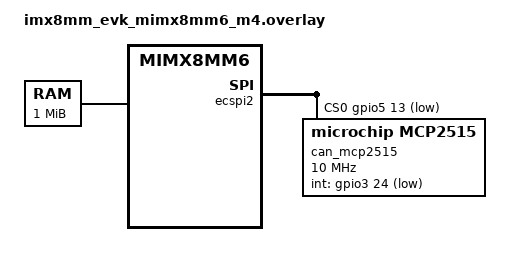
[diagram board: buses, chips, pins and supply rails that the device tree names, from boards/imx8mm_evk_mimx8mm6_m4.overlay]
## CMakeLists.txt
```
cmake_minimum_required(VERSION 3.20.0)

find_package(Zephyr REQUIRED HINTS $ENV{ZEPHYR_BASE})
project(main_app)

# 土台: 起動とコンソール (main.c)、Linux との rpmsg (rpmsg_platform.c)、キープアライブ (keepalive.c)。
# 機能: CAN の中継 (can_gw.c)。ADC はファイルを分けてここに足す
target_sources(app PRIVATE
  src/main.c
  src/rpmsg_platform.c
  src/keepalive.c
  src/can_gw.c
)
```

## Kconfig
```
# main-app の設定 (製品は既定値のまま)

menu "main-app"

config MAIN_APP_KA_TEST_PAUSE_AT_S
	int "Test only: pause the keepalive after this many messages (0 = never)"
	default 0
	help
	  Linux 側 (kmm-yocto の mcore-keepalive) の途切れの検知を試すための設定。
	  送り始めてからこの数だけ送った後、MAIN_APP_KA_TEST_PAUSE_LEN_S 秒だけ送るのを止め、
	  その後は再開する。製品では 0 (無効)。

config MAIN_APP_KA_TEST_PAUSE_LEN_S
	int "Test only: length of the keepalive pause in seconds"
	default 10
	depends on MAIN_APP_KA_TEST_PAUSE_AT_S > 0

endmenu

source "Kconfig.zephyr"
```

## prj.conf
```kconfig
# main-app — M コア (8MP: M7 / 8MM: M4) の製品ファーム。土台 (rpmsg)、キープアライブ、CAN の中継。
# ADC は、機能ごとのファイルとしてここへ移していく。
CONFIG_IPM=y
CONFIG_MAIN_STACK_SIZE=2048
CONFIG_HEAP_MEM_POOL_SIZE=2048
CONFIG_OPENAMP=y
CONFIG_OPENAMP_RSC_TABLE=y
CONFIG_OPENAMP_RSC_TABLE_NUM_RPMSG_BUFF=8
CONFIG_OPENAMP_MASTER=n

# CAN の中継 (can_gw.c)
CONFIG_CAN=y

# コンソールは「RAM + UART4 の tee」(main.c の console_tee_init):
# - RAM console: resource table に trace エントリが自動で載り、Linux から
#   cat /sys/kernel/debug/remoteproc/remoteproc0/trace0 で読める
# - UART4: Linux が死んでいる時・ブート極早期の最後の砦
CONFIG_RAM_CONSOLE=y
CONFIG_RAM_CONSOLE_BUFFER_SIZE=8192
CONFIG_UART_CONSOLE=n
CONFIG_PRINTK=y
CONFIG_LOG=y
CONFIG_LOG_MODE_MINIMAL=y
CONFIG_LOG_DEFAULT_LEVEL=3
```

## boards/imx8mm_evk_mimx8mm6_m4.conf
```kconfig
CONFIG_IPM_IMX_MAX_DATA_SIZE_4=y
# Linux 側の mboxes (fsl,mu) は MU チャネル 1 を使う取り決め (kmm-yocto の imx8mm-xpi.dts)。
# 送受とも MU レジスタ index 1 に合わせる
CONFIG_OPENAMP_RSC_TABLE_IPM_RX_ID=1
CONFIG_OPENAMP_RSC_TABLE_IPM_TX_ID=1

# 12MHz 水晶の MCP2515 HAT では 1Mbps が 6 TQ 一択で sample point 上限 66.7%。
# Zephyr の目標 75% ±5% (CONFIG_CAN_SAMPLE_POINT_MARGIN=50 既定) に入らず
# can_set_bitrate が -ERANGE になるため ±10% に緩和する (66.7% での 1M は
# CANable と E2E 実証済み。init 経路は元々 margin 検査なしで同じ 66.7% を採用
# している)。16MHz/20MHz 系のキャリアボードに移行したらこの緩和は不要 (issue #1)
CONFIG_CAN_SAMPLE_POINT_MARGIN=100

# MCP2515 (ECSPI2) と INT 線 (GPIO3)
CONFIG_SPI=y
CONFIG_GPIO=y
```

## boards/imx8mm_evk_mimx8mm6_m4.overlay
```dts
/*
 * XPI-iMX8MM M4: main-app の土台 (rpmsg) と CAN の中継 (MCP2515 @ ECSPI2 ⇄ rpmsg)。
 * 機能 (ADC など) を足すときは、その機能のノードと CS をここに足す (apps/can-gw の overlay に ADS8688 の例)。
 *
 * rpmsg (Linux 側 DT imx8mm-xpi.dts との取り決め):
 * - vdevbuffer 予約領域 = 0xB8400000 0x100000 (shared-dma-pool)
 *   → vring/バッファは全部この中にカーネルが確保する。ここを ipc_shm 窓に
 * - MU: A53 側 mboxes = <&mu 0 1 &mu 1 1 &mu 3 1> (idx1) — IPM ID は
 *   board conf 側で合わせる
 *
 * CAN (値は Linux 側 DT の MCP2515 ノードと同一):
 * - 発振 12MHz / SPI 10MHz / INT = GPIO3_IO24 (level-low) / CS0 / 1Mbps
 * - 前提: Linux 側で can0 down + mcp251x を unbind してから M4 を起動
 */
/ {
	chosen {
		zephyr,ipc_shm = &shram;
		zephyr,ipc = &mailbox0;
		zephyr,canbus = &can_mcp2515;
	};

	shram: memory@b8400000 {
		compatible = "mmio-sram";
		reg = <0xb8400000 0x100000>;
	};
};

&mailbox0 {
	status = "okay";
};

&pinctrl {
	ecspi2_default: ecspi2_default {
		group0 {
			/* SS0 はネイティブ CS でなく GPIO5_IO13 として運用:
			 * mcux ECSPI ドライバはネイティブ CS だとマルチバッファ
			 * コマンド (BIT MODIFY 等) の途中で CS がパルスし、
			 * MCP2515 のモード遷移が効かない (実測) */
			pinmux = <&iomuxc_ecspi2_sclk_ecspi_sclk_ecspi2_sclk>,
				 <&iomuxc_ecspi2_mosi_ecspi_mosi_ecspi2_mosi>,
				 <&iomuxc_ecspi2_miso_ecspi_miso_ecspi2_miso>,
				 <&iomuxc_ecspi2_ss0_gpio_io_gpio5_io13>;
			slew-rate = "fast";
			drive-strength = "x6";
		};
	};
};

&gpio3 {
	status = "okay";
};

&gpio5 {
	status = "okay";
};

&ecspi2 {
	status = "okay";
	pinctrl-0 = <&ecspi2_default>;
	pinctrl-names = "default";
	/* reg=0: MCP2515 (CS=GPIO5_IO13) */
	cs-gpios = <&gpio5 13 GPIO_ACTIVE_LOW>;

	can_mcp2515: mcp2515@0 {
		compatible = "microchip,mcp2515";
		reg = <0>;
		spi-max-frequency = <10000000>;
		osc-freq = <12000000>;
		int-gpios = <&gpio3 24 GPIO_ACTIVE_LOW>;
		bitrate = <1000000>;
		status = "okay";
	};

};
```

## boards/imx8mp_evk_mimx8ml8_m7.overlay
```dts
/*
 * DEBIX Infinity (i.MX8MP) M7: main-app の土台 (rpmsg) と CAN の中継 (FlexCAN1 ⇄ rpmsg)。
 * 機能 (ADC など) を足すときは、その機能のノードをここに足す。
 * 8MM (MCP2515/ECSPI) との差分はここと board conf に集約し、can_gw.c は
 * chosen zephyr,canbus / SoC ガードで共通化してある。
 *
 * rpmsg (Linux 側 DT との取り決め — kmm-yocto/docs/imx8mp-debix-bringup/01-m7.md):
 * - vdevbuffer 予約領域 = 0x55400000 0x100000 (shared-dma-pool) → ipc_shm 窓
 *   (vring 0x55000000/0x55008000、rsc_table 0x550FF000 は rpmsg_platform.c の SoC 定数)
 * - MU: Linux 側 mboxes = <&mu 0 1 &mu 1 1 &mu 3 1> (idx1) — 8MM と同じ取り決め、
 *   IPM ID は board conf 側で合わせる
 *
 * CAN1 ピンは DEBIX J2 Pin31/33 = SAI5_RXD1/RXD2 (Linux 側 imx8mp-debix.dts と
 * 同一 pinmux・同一パッド設定)。CAN トランシーバはボード外 (CA-IS3050G
 * モジュール等、J2 は 3.3V TXD/RXD) なので phys (can-transceiver-gpio) は無し。
 *
 * flexcan1 ノード: upstream の M7 dtsi (nxp_imx8ml_m7.dtsi) には CAN ノードが
 * 無いので、A53 dtsi (nxp_mimx8mp_a53.dtsi) の定義を M7 (NVIC) 形式に
 * 移して足す。IRQ 142/143 = CAN_FD1_IRQn/CAN_FD1_ERROR_IRQn (MIMX8ML8_cm7.h)。
 * CCGR ゲートは Zephyr の ccm ドライバが立てない (CAN の case 無し) ため
 * can_gw.c の m7_can_clocks_enable が立てる。クロックは root 既定の 24MHz osc。
 */
/ {
	chosen {
		zephyr,ipc_shm = &shram;
		zephyr,ipc = &mailbox0;
		zephyr,canbus = &flexcan1;
	};

	shram: memory@55400000 {
		compatible = "mmio-sram";
		reg = <0x55400000 0x100000>;
	};

	soc {
		flexcan1: can@308c0000 {
			compatible = "nxp,flexcan-fd", "nxp,flexcan";
			reg = <0x308c0000 0x10000>;
			interrupts = <142 3>, <143 3>;
			interrupt-names = "common", "error";
			clocks = <&ccm IMX_CCM_CAN1_CLK 0x68 14>;
			clk-source = <0>;
			pinctrl-0 = <&flexcan1_default>;
			pinctrl-names = "default";
			status = "okay";
		};
	};
};

&mailbox0 {
	status = "okay";
};

&pinctrl {
	flexcan1_default: flexcan1_default {
		group0 {
			pinmux = <&iomuxc_sai5_rxd1_can_tx_can1_tx>,
				 <&iomuxc_sai5_rxd2_can_rx_can1_rx>;
			bias-pull-up;
			slew-rate = "fast";
			drive-strength = "x2";
		};
	};
};
```

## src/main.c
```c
/*
 * main-app — M コア (8MP: Cortex-M7 / 8MM: Cortex-M4) の製品ファーム。
 *
 * 土台と機能をファイルで分ける:
 *   main.c            起動、コンソール (RAM + UART4 の tee)、各部の起動
 *   rpmsg_platform.c  Linux (imx_rproc) との rpmsg (attach 対応、MU は 1ms ポーリング)
 *   keepalive.c       M コアが動いていることを 1 秒ごとに Linux へ知らせる (チャネル "mcore-keepalive"、kmm-yocto issue #19)
 *   can_gw.c          機能: CAN コントローラ ⇄ rpmsg "rpmsg-can" の中継 (apps/can-gw から移した)
 * 機能 (ADC など) は、ファイルを分けて足していく。
 * ボード差分は boards/ の overlay と conf、SoC ガードに集める。
 *
 * 起動経路は 2 通りどちらでも動く: kmm-yocto の SPL/BL31 が先に起動して Linux が attach
 * する (製品)、Linux の remoteproc が ELF を読んで起動する (scripts/try.sh)。
 */
#include <zephyr/kernel.h>
#include <zephyr/device.h>
#include <zephyr/drivers/uart.h>
#include <zephyr/sys/printk-hooks.h>
#include <zephyr/sys/libc-hooks.h>
#include <string.h>

#include "rpmsg_platform.h"
#include "keepalive.h"
#include "can_gw.h"

#if defined(CONFIG_SOC_MIMX8MM6)
/* [8MM] コンソールの UART4 のクロックを M4 自身で立てる。i.MX8MM の CCGR は 4bit/domain の
 * ドメイン別要求フィールドで、domain0 (Linux) からは domain1 (M4) の分を書けない。
 * SET レジスタに全ドメイン分 (0x3333) を書く (M4 の write は自ドメインの分にだけ効く)。
 * UART4 のパッドはリセット既定が ALT0=UART4 なので mux は不要、RX の入力 daisy だけ明示する。
 * 機能のクロック (CAN の ECSPI2 など) は、その機能のファイルが立てる (can_gw.c) */
#define CCM_CCGR_UART4_SET   0x303844C4u	/* CCGR76 (0x44C0) の SET — kmm-yocto pitfalls #25 実測 */

static int m4_clocks_enable(void)
{
	*(volatile uint32_t *)CCM_CCGR_UART4_SET = 0x3333;
	*(volatile uint32_t *)0x3033050Cu = 0x2;	/* UART4_RXD input daisy */
	return 0;
}
SYS_INIT(m4_clocks_enable, PRE_KERNEL_1, 0);
#endif /* CONFIG_SOC_MIMX8MM6 */

/* --- コンソール tee: printk を RAM console バッファと UART4 の両方へ。
 * RAM 側は CONFIG_RAM_CONSOLE により resource table の trace エントリとして公開され、
 * Linux から debugfs (remoteproc0/trace0) で読める。UART4 は Linux 不在時のための
 * 物理コンソール。RAM console 標準フック (PRE_KERNEL_1) を APPLICATION でこの tee に
 * 差し替える — それまでの分は RAM のみに入る */
extern char ram_console_buf[];
static int tee_pos;
static const struct device *tee_uart;

static int console_tee_out(int c)
{
	ram_console_buf[tee_pos] = (char)c;
	/* ram_console.c と同じ流儀: 末尾 1 バイトは常に NUL */
	tee_pos = (tee_pos + 1) % (CONFIG_RAM_CONSOLE_BUFFER_SIZE - 1);
	if (tee_uart != NULL) {
		uart_poll_out(tee_uart, (unsigned char)c);
	}
	return c;
}

static int console_tee_init(void)
{
	tee_uart = DEVICE_DT_GET(DT_CHOSEN(zephyr_console));
	if (!device_is_ready(tee_uart)) {
		tee_uart = NULL;
	}
	tee_pos = (int)strnlen(ram_console_buf, CONFIG_RAM_CONSOLE_BUFFER_SIZE - 1);
	__printk_hook_install(console_tee_out);
	__stdout_hook_install(console_tee_out);
	return 0;
}
SYS_INIT(console_tee_init, APPLICATION, 0);

int main(void)
{
	printk("main-app: start (%s)\n", CONFIG_BOARD_TARGET);

	rpmsg_platform_start();
	keepalive_start();
	can_gw_start();

	return 0;
}
```

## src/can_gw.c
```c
/*
 * can_gw — CAN コントローラ ⇄ rpmsg "rpmsg-can" の双方向 CAN ゲートウェイ (main-app の機能)。
 * apps/can-gw の CAN の部分を移したもの (ADC は別の機能として移す予定で、ここには入れない)。
 * CAN 側は chosen zephyr,canbus (8MM/M4: MCP2515 @ ECSPI2、8MP/M7: FlexCAN1)。
 *
 * Linux 側は kmm-yocto の rpmsg-can モジュールが NS 告知で bind して
 * CAN netdev rpmsgcan0 を登録する。以後 Linux アプリは SocketCAN 無修正。
 *
 *   CAN rx (ISRコールバック) → msgq → tx スレッド → rpmsg → rpmsgcan0
 *   rpmsgcan0 送信 → rpmsg → ept コールバック → can_send → CAN バス
 *
 * ワイヤ形式 (rpmsg-can.c と共通):
 *   - データフレーム 16B: { uint32 id; uint8 dlc; uint8 pad[3]; uint8 data[8] } (LE)
 *     id は Linux canid_t の慣例 (bit31=EFF, bit30=RTR)。
 *   - 制御メッセージ 8B: { uint8 magic=0xC7; uint8 cmd; uint8 flags; uint8 rsvd;
 *     uint32 arg }。長さで区別。Linux 側 candev の netlink 設定を反映する:
 *     bitrate/mode を受けて can_set_bitrate/can_set_mode、START/STOP で
 *     can_start/can_stop。M コア→Linux は状態変化 (bus-off 等) を EVT_STATE で返す。
 *   - それ以外の長さ (Linux probe の "hi" 等) は返信先アドレス学習にだけ使う。
 *
 * CAN の起動は Linux の `ip link up` (= START) 契機。M コア起動時は can_start せず、
 * bitrate/mode を停止中に受けてから start する (SocketCAN candev の流儀)。
 *
 * [8MM] 前提 (RDC): M4 が使うペリフェラル (ECSPI2/GPIO3/GPIO5) は、M4 起動前に
 * Linux (domain0) か BL31 から RDC PDAP を M4 専用 (0x0C) に設定しておくこと。
 * 共有 (0xFF) のままだと、MU/IPM を含むビルドではペリフェラル READ が
 * バスエラー → SoC ハードリセットになる (実測)。
 */
#include <zephyr/kernel.h>
#include <zephyr/device.h>
#include <zephyr/drivers/can.h>
#include <zephyr/drivers/gpio.h>
#include <zephyr/sys/atomic.h>
#include <string.h>

#include <openamp/open_amp.h>

#include <zephyr/logging/log.h>
LOG_MODULE_REGISTER(can_gw);

#include "can_gw.h"
#include "rpmsg_platform.h"

#if defined(CONFIG_SOC_MIMX8MM6)
/* ---- [8MM] MCP2515 (ECSPI2) まわりのクロックを M4 自身で enable ----
 * コンソールの UART4 のクロックは main.c が立てる。
 * Linux 側 DT は ecspi2 を disabled にした (M4 譲渡)。i.MX8MM の CCGR は
 * 4bit/domain のドメイン別要求フィールドで、domain0 (Linux) の devmem では
 * domain1 (M4) のフィールドに書けない (実測: 0x33 を書くと 0x03 になる)。
 * domain1 の要求が立っていないと M4 のレジスタアクセスで bus stall →
 * SoC ハードリセットになる (実測)。SDK の CLOCK_EnableClock と同じく
 * SET レジスタに全ドメイン分 (0x3333) を書く。M4 (domain1) からの write は
 * 自ドメインのフィールドに有効。ECSPI ドライバ init (banner 前) より先に
 * 走るよう PRE_KERNEL_1 priority 0 で行う。
 * TARGET_ROOT は Linux 側 (mcore_booted=1 + clk_ignore_unused) が enable を
 * 維持する取り決め (kmm-yocto imx8mm-xpi.dts のコメント参照)。 */
#define CCM_CCGR_ECSPI2_SET  0x30384084u	/* CCGR (0x4080) の SET */
#define CCM_CCGR_GPIO3_SET   0x303840D4u	/* CCGR (0x40D0) の SET */
#define CCM_CCGR_GPIO5_SET   0x303840F4u	/* CCGR (0x40F0) の SET */

static int m4_can_clocks_enable(void)
{
	/* clk-test (kmm-yocto m4/clk-test) での実測: M4 write は domain1
	 * フィールドのみに効き (0x3333 → 読み値 0x30)、これで ECSPI2 read が
	 * 2700 万回生還。can-gw が使う GPIO3 (INT)/GPIO5 (CS)、コンソールの
	 * UART4 も同様に立てる */
	*(volatile uint32_t *)CCM_CCGR_ECSPI2_SET = 0x3333;
	*(volatile uint32_t *)CCM_CCGR_GPIO3_SET = 0x3333;
	*(volatile uint32_t *)CCM_CCGR_GPIO5_SET = 0x3333;
	/* 前任 M4 が SPI 転送中に stop されていると ECSPI2 が動作状態のまま残り、
	 * SPI ドライバ init がハングする (state=running なのに無音、adc-test で実測)。
	 * M4 リセットはペリフェラルを初期化しないので毎起動 CONREG=0 で白紙に */
	*(volatile uint32_t *)0x30830008u = 0;
	return 0;
}
SYS_INIT(m4_can_clocks_enable, PRE_KERNEL_1, 0);

#elif defined(CONFIG_SOC_MIMX8ML8)
/* ---- FlexCAN1 クロックを M7 自身で enable (8MP) ----
 * Zephyr の ccm ドライバ (mcux_ccm_on) は CAN の CCGR ゲートを立てない
 * (case が無く素通り)。Linux 側 DT では flexcan1 を M7 譲渡で disabled に
 * する予定のため誰も立てず、FlexCAN ドライバ init のレジスタアクセスで
 * 止まる。8MM の CCGR 対応と同じく M7 自身で立てる。
 *
 * [falcon 対応 2026-09-10] CCGR ゲートだけでは不足。CAN1 クロック *root*
 * (CCM TARGET_ROOT @ 0x3038a200) の enable まで自前で立てる必要がある。
 * remoteproc 経路では U-Boot proper が root を立てていたが、falcon
 * (SPL→BL31→カーネル直行) では U-Boot proper を飛ばすため root が
 * 未 enable のまま (実機実測 0x00000000)。この状態で FlexCAN ドライバが
 * init すると get_rate は 24MHz を返すのに実クロックは 0Hz で、bit timing
 * が狂い CAN が一切通らない (実機: can0 RX=0)。root を enable + mux=0
 * (24MHz osc) + div=0 = 0x10000000 で立てる (ccm get_rate=24MHz と一致)。*/
#include <fsl_clock.h>

#define CCM_CAN1_CLK_ROOT	0x3038a200u	/* CCM TARGET_ROOT CAN1 (imx8mp) */
#define CCM_ROOT_EN_OSC24M	0x10000000u	/* bit28 enable, mux[26:24]=0 (osc_24m), div=0 */

static int m7_can_clocks_enable(void)
{
	*(volatile uint32_t *)CCM_CAN1_CLK_ROOT = CCM_ROOT_EN_OSC24M;
	CLOCK_EnableClock(kCLOCK_Can1);
	return 0;
}
SYS_INIT(m7_can_clocks_enable, PRE_KERNEL_1, 0);
#endif /* SoC */

/* ---- ワイヤ形式と Linux canid_t フラグ ---- */

struct rpmsg_can_wire {
	uint32_t id;
	uint8_t dlc;
	uint8_t pad[3];
	uint8_t data[8];
} __packed;

#define LINUX_CAN_EFF_FLAG 0x80000000U
#define LINUX_CAN_RTR_FLAG 0x40000000U
#define LINUX_CAN_EFF_MASK 0x1FFFFFFFU
#define LINUX_CAN_SFF_MASK 0x000007FFU

/* ---- 制御メッセージ (rpmsg-can.c と共通、8B。16B フレームと長さで区別) ----
 * Linux 側 candev の netlink 設定 (bitrate/mode) と up/down をここへ流す。
 * enum can_state は Zephyr と Linux で値が一致 (ACTIVE=0/WARN=1/PASSIVE=2/
 * BUS_OFF=3/STOPPED=4/SLEEPING=5) なので EVT_STATE は arg をそのまま渡す。 */
#define RPMSG_CAN_CTRL_MAGIC 0xC7
enum {
	RPMSG_CAN_CMD_SET_BITRATE = 1,	/* Linux→M4: arg = bitrate [bps] */
	RPMSG_CAN_CMD_SET_MODE    = 2,	/* Linux→M4: flags = mode ビット */
	RPMSG_CAN_CMD_START       = 3,	/* Linux→M4: CAN 起動 (ip link up) */
	RPMSG_CAN_CMD_STOP        = 4,	/* Linux→M4: CAN 停止 (ip link down) */
	RPMSG_CAN_EVT_STATE       = 5,	/* M4→Linux: arg = enum can_state */
};

struct rpmsg_can_ctrl {
	uint8_t magic;
	uint8_t cmd;
	uint8_t flags;
	uint8_t rsvd;
	uint32_t arg;
} __packed;

#define RPMSG_CAN_MODE_LISTENONLY (1u << 0)
#define RPMSG_CAN_MODE_LOOPBACK   (1u << 1)

/* ---- CAN ---- */

/* CAN コントローラは chosen で選ぶ (8MM: &can_mcp2515 / 8MP: &flexcan1) */
static const struct device *const can_dev =
	DEVICE_DT_GET(DT_CHOSEN(zephyr_canbus));

K_MSGQ_DEFINE(can_rx_q, sizeof(struct can_frame), 64, 4);

/* Linux の START/STOP で駆動する (旧: main() で無条件 can_start)。
 * SET_BITRATE/SET_MODE は停止中でないと適用できないので、必要なら stop する */
static bool can_started;

/* 状態変化 → EVT_STATE の遅延送出。CAN の状態変化コールバックは ISR/
 * ドライバ文脈で走り得るので、そこでは値を積むだけにし、main ループが送る */
static atomic_t pending_state = ATOMIC_INIT(-1);
static K_SEM_DEFINE(state_sem, 0, 1);

#if defined(CONFIG_SOC_MIMX8MM6)
/* --- INT 可観測性: MCP2515 INT (GPIO3_IO24) のエッジをドライバとは独立の
 * callback で数え、IMR/PSR も直読みして stats に出す。gpio3 を Linux が
 * 掴んで IMR を消す時限バグ (kmm-yocto pitfalls #31) の切り分けで導入。
 * imr24 が 0 になったらこの類の再発 — stats 1 行で常時見張る */
static volatile uint32_t diag_edges;
static struct gpio_callback diag_int_cb;
static void diag_int_edge(const struct device *dev, struct gpio_callback *cb,
			  uint32_t pins)
{
	diag_edges++;
}
#define GPIO3_PSR (*(volatile uint32_t *)0x30220008u)
#define GPIO3_IMR (*(volatile uint32_t *)0x30220014u)
#endif /* CONFIG_SOC_MIMX8MM6 */

static void can_state_change_cb(const struct device *dev, enum can_state state,
				struct can_bus_err_cnt err_cnt, void *user_data)
{
	ARG_UNUSED(dev);
	ARG_UNUSED(err_cnt);
	ARG_UNUSED(user_data);

	atomic_set(&pending_state, (atomic_val_t)state);
	k_sem_give(&state_sem);
}

/* 統計 (5 秒ごとにコンソールへ) */
static atomic_t stat_can_rx;		/* CAN → rpmsg 転送数 */
static atomic_t stat_can_rx_drop;	/* msgq 満杯ドロップ */
static atomic_t stat_rpmsg_drop;	/* rpmsg TX バッファ枯渇ドロップ */
static atomic_t stat_can_tx;		/* rpmsg → CAN 送信数 */
static atomic_t stat_can_tx_drop;	/* can_send 失敗 */

static void can_rx_cb(const struct device *dev, struct can_frame *frame,
		      void *user_data)
{
	ARG_UNUSED(dev);
	ARG_UNUSED(user_data);

	if (k_msgq_put(&can_rx_q, frame, K_NO_WAIT) != 0) {
		atomic_inc(&stat_can_rx_drop);
	}
}

/* ---- rpmsg ---- */

K_THREAD_STACK_DEFINE(thread_tx_stack, 1024);
K_THREAD_STACK_DEFINE(thread_ctl_stack, 1024);
static struct k_thread thread_tx_data;
static struct k_thread thread_ctl_data;

static struct rpmsg_endpoint can_ept;
/* Linux 側 ept アドレス。probe 時の "hi" (または任意の受信) で学習する */
static atomic_t peer_addr = ATOMIC_INIT(-1);

/* Linux (candev) からの制御メッセージを CAN コントローラへ反映する。
 * mng スレッド文脈から呼ばれる (CAN API 呼び出しは可)。設定は ip link up 時の
 * 数発だけなので、ここで can_stop/start しても vring 処理への影響は軽微 */
static void rpmsg_can_handle_ctrl(const struct rpmsg_can_ctrl *c)
{
	int ret;

	switch (c->cmd) {
	case RPMSG_CAN_CMD_SET_BITRATE:
		if (can_started) {
			can_stop(can_dev);
			can_started = false;
		}
		ret = can_set_bitrate(can_dev, c->arg);
		printk("can-gw: set_bitrate %u rc=%d\n", c->arg, ret);
		break;
	case RPMSG_CAN_CMD_SET_MODE: {
		can_mode_t mode = CAN_MODE_NORMAL;

		if (c->flags & RPMSG_CAN_MODE_LISTENONLY) {
			mode |= CAN_MODE_LISTENONLY;
		}
		if (c->flags & RPMSG_CAN_MODE_LOOPBACK) {
			mode |= CAN_MODE_LOOPBACK;
		}
		if (can_started) {
			can_stop(can_dev);
			can_started = false;
		}
		ret = can_set_mode(can_dev, mode);
		printk("can-gw: set_mode 0x%x rc=%d\n", (unsigned int)mode, ret);
		break;
	}
	case RPMSG_CAN_CMD_START:
		if (!can_started) {
			ret = can_start(can_dev);
			can_started = (ret == 0);
			printk("can-gw: start rc=%d\n", ret);
		}
		break;
	case RPMSG_CAN_CMD_STOP:
		if (can_started) {
			can_stop(can_dev);
			can_started = false;
			printk("can-gw: stop\n");
		}
		break;
	default:
		break;
	}
}

static int rpmsg_recv_can_callback(struct rpmsg_endpoint *ept, void *data,
				   size_t len, uint32_t src, void *priv)
{
	struct rpmsg_can_wire w;
	struct can_frame frame = {0};
	int ret;

	atomic_set(&peer_addr, (atomic_val_t)src);

	if (len == sizeof(struct rpmsg_can_ctrl)) {	/* 制御メッセージ (8B) */
		const struct rpmsg_can_ctrl *c = data;

		if (c->magic == RPMSG_CAN_CTRL_MAGIC) {
			rpmsg_can_handle_ctrl(c);
		}
		return RPMSG_SUCCESS;
	}
	if (len != sizeof(w)) {	/* "hi" ハンドシェイク等 */
		return RPMSG_SUCCESS;
	}
	memcpy(&w, data, sizeof(w));

	if (w.id & LINUX_CAN_EFF_FLAG) {
		frame.id = w.id & LINUX_CAN_EFF_MASK;
		frame.flags |= CAN_FRAME_IDE;
	} else {
		frame.id = w.id & LINUX_CAN_SFF_MASK;
	}
	if (w.id & LINUX_CAN_RTR_FLAG) {
		frame.flags |= CAN_FRAME_RTR;
	}
	frame.dlc = MIN(w.dlc, CAN_MAX_DLC);
	memcpy(frame.data, w.data, can_dlc_to_bytes(frame.dlc));

	/* mng スレッド文脈。MCP2515 の TX メールボックス待ちはしない —
	 * 満杯なら vring 処理を止めないためドロップ */
	ret = can_send(can_dev, &frame, K_NO_WAIT, NULL, NULL);
	if (ret == 0) {
		atomic_inc(&stat_can_tx);
	} else {
		atomic_inc(&stat_can_tx_drop);
	}
	return RPMSG_SUCCESS;
}

/* CAN → Linux。rpmsg が使えるようになってからエンドポイントを作る */
static void can_gw_tx_task(void *arg1, void *arg2, void *arg3)
{
	ARG_UNUSED(arg1);
	ARG_UNUSED(arg2);
	ARG_UNUSED(arg3);

	struct rpmsg_device *rdev = rpmsg_platform_wait();
	struct can_frame frame;
	struct rpmsg_can_wire w;
	int ret;

	if (!rdev) {
		LOG_ERR("can-gw: no rpmsg device");
		return;
	}

	/* NS 告知 → Linux 側で rpmsg-can が probe → rpmsgcan0 登録 */
	ret = rpmsg_create_ept(&can_ept, rdev, "rpmsg-can",
			       RPMSG_ADDR_ANY, RPMSG_ADDR_ANY,
			       rpmsg_recv_can_callback, NULL);
	if (ret) {
		LOG_ERR("can-gw: could not create rpmsg-can endpoint: %d", ret);
		return;
	}
	printk("can-gw: rpmsg-can endpoint created, waiting for Linux peer\n");

	while (1) {
		k_msgq_get(&can_rx_q, &frame, K_FOREVER);

		uint32_t peer = (uint32_t)atomic_get(&peer_addr);

		if (peer == (uint32_t)-1) {
			continue;	/* Linux 側まだ — 捨てる */
		}

		memset(&w, 0, sizeof(w));
		w.id = frame.id;
		if (frame.flags & CAN_FRAME_IDE) {
			w.id = (frame.id & LINUX_CAN_EFF_MASK) |
			       LINUX_CAN_EFF_FLAG;
		} else {
			w.id = frame.id & LINUX_CAN_SFF_MASK;
		}
		if (frame.flags & CAN_FRAME_RTR) {
			w.id |= LINUX_CAN_RTR_FLAG;
		}
		w.dlc = MIN(frame.dlc, CAN_MAX_DLC);
		memcpy(w.data, frame.data, can_dlc_to_bytes(w.dlc));

		/* 非ブロック — TX バッファ枯渇 (Linux 停滞) はドロップ */
		ret = rpmsg_trysendto(&can_ept, &w, sizeof(w), peer);
		if (ret == 0 || ret == sizeof(w)) {
			atomic_inc(&stat_can_rx);
		} else {
			atomic_inc(&stat_rpmsg_drop);
		}
	}
}

/* 状態変化を Linux へ (EVT_STATE)、無ければ 5 秒ごとに統計をコンソールへ */
static void can_gw_ctl_task(void *arg1, void *arg2, void *arg3)
{
	ARG_UNUSED(arg1);
	ARG_UNUSED(arg2);
	ARG_UNUSED(arg3);

	while (1) {
		enum can_state state;
		struct can_bus_err_cnt errs;

		/* 状態変化 (state_sem) で即起きて EVT_STATE を Linux へ。無ければ
		 * 5s ごとに J64 へ統計を出す */
		if (k_sem_take(&state_sem, K_SECONDS(5)) == 0) {
			atomic_val_t st = atomic_get(&pending_state);
			uint32_t peer = (uint32_t)atomic_get(&peer_addr);

			if (st >= 0 && peer != (uint32_t)-1) {
				struct rpmsg_can_ctrl e = {
					.magic = RPMSG_CAN_CTRL_MAGIC,
					.cmd = RPMSG_CAN_EVT_STATE,
					.arg = (uint32_t)st,
				};

				rpmsg_trysendto(&can_ept, &e, sizeof(e), peer);
				printk("can-gw: EVT_STATE %ld -> Linux\n", (long)st);
			}
			continue;	/* 統計は次の timeout 周で */
		}

		can_get_state(can_dev, &state, &errs);
		printk("--- can->rp %ld (qdrop %ld, rpdrop %ld) | rp->can %ld (drop %ld) | peer 0x%x | started=%d state=%d tx_err=%d rx_err=%d ---\n",
		       atomic_get(&stat_can_rx),
		       atomic_get(&stat_can_rx_drop),
		       atomic_get(&stat_rpmsg_drop),
		       atomic_get(&stat_can_tx),
		       atomic_get(&stat_can_tx_drop),
		       (uint32_t)atomic_get(&peer_addr),
		       can_started,
		       state, errs.tx_err_cnt, errs.rx_err_cnt);
#if defined(CONFIG_SOC_MIMX8MM6)
		printk("    int-diag: edges=%u lvl=%d imr24=%d\n",
		       diag_edges,
		       (int)((GPIO3_PSR >> 24) & 1),
		       (int)((GPIO3_IMR >> 24) & 1));
#endif
	}
}

void can_gw_start(void)
{
	const struct can_filter filter_all = {
		.flags = 0,
		.id = 0,
		.mask = 0,	/* mask 0 = 全 ID */
	};
	int ret;

	printk("can-gw: %s <-> rpmsg-can\n", can_dev->name);

	if (!device_is_ready(can_dev)) {
		printk("can-gw: CAN device NOT ready\n");
		return;
	}
	/* can_start は Linux (candev) の START = `ip link up` 契機で行う
	 * (SET_BITRATE/SET_MODE を停止中に受けてから起動するため)。ここでは
	 * 全 ID フィルタ登録と状態変化コールバック登録だけ */
	ret = can_add_rx_filter(can_dev, can_rx_cb, NULL, &filter_all);
	printk("can-gw: add_rx_filter rc=%d\n", ret);
	can_set_state_change_callback(can_dev, can_state_change_cb, NULL);

#if defined(CONFIG_SOC_MIMX8MM6)
	{
		const struct device *g3 = DEVICE_DT_GET(DT_NODELABEL(gpio3));

		gpio_init_callback(&diag_int_cb, diag_int_edge, BIT(24));
		gpio_add_callback(g3, &diag_int_cb);
	}
#endif

	k_thread_create(&thread_tx_data, thread_tx_stack,
			K_THREAD_STACK_SIZEOF(thread_tx_stack),
			can_gw_tx_task, NULL, NULL, NULL,
			K_PRIO_COOP(7), 0, K_NO_WAIT);
	k_thread_create(&thread_ctl_data, thread_ctl_stack,
			K_THREAD_STACK_SIZEOF(thread_ctl_stack),
			can_gw_ctl_task, NULL, NULL, NULL,
			K_PRIO_PREEMPT(1), 0, K_NO_WAIT);
}
```

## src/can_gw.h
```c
/*
 * can_gw — CAN コントローラ ⇄ rpmsg "rpmsg-can" の双方向 CAN ゲートウェイ (main-app の機能)。
 * 仕様は can_gw.c の冒頭。
 */
#ifndef CAN_GW_H_
#define CAN_GW_H_

/* CAN コントローラの準備と、中継のスレッドを起こす (rpmsg が使えるようになってから始める) */
void can_gw_start(void);

#endif /* CAN_GW_H_ */
```

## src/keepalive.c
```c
/*
 * keepalive — M コアが動いていることを Linux に知らせる (kmm-yocto issue #19)。
 *
 * - rpmsg のチャネルを "mcore-keepalive" の名前で告知する。Linux 側は kmm-yocto の
 *   mcore-keepalive カーネルモジュールが bind し、M コアが動いているかを /sys に出す。
 *   CAN などの機能とは別のチャネルで、機能の状態は含めない (見るのは M コアが起動して
 *   動いているかだけ)。
 * - M コアは Linux 側の宛先を知らないので、Linux 側が最初に送ってくる 1 通 (モジュールが
 *   bind 時に送る "hi") の送り元を宛先として覚え、以後 1 秒ごとに送る。宛先は受け取るたびに
 *   更新する (モジュールを入れ直しても追従する)。
 * - メッセージ (リトルエンディアン、16 バイト):
 *     u32 magic = 0x414B434D ("MCKA")  u16 proto = 1  u16 len = 16
 *     u32 uptime_ms (M コアが起動してからの時間)  u32 seq (送るたびに 1 増える)
 * - 送れないとき (Linux 側がバッファを返していない) は待たずに次の周期へ回す。seq は
 *   送れたときだけ増やすので、Linux 側から見た抜けは seq の飛びで分かる。
 * - 試験用 (Kconfig の MAIN_APP_KA_TEST_PAUSE_AT_S): 送り始めてから決まった秒数で送るのを止め、
 *   決まった秒数後に再開する。Linux 側の途切れの検知を試すためで、製品では 0 (無効)。
 */
#include <zephyr/kernel.h>
#include <zephyr/sys/atomic.h>
#include <string.h>

#include <openamp/open_amp.h>

#include <zephyr/logging/log.h>
LOG_MODULE_REGISTER(keepalive);

#include "keepalive.h"
#include "rpmsg_platform.h"

#define KA_MAGIC	0x414B434Du	/* "MCKA" (LE) */
#define KA_PROTO	1
#define KA_PERIOD_MS	1000

struct ka_msg {
	uint32_t magic;
	uint16_t proto;
	uint16_t len;
	uint32_t uptime_ms;
	uint32_t seq;
} __packed;

BUILD_ASSERT(sizeof(struct ka_msg) == 16, "keepalive message must be 16 bytes");

K_THREAD_STACK_DEFINE(thread_ka_stack, 1024);
static struct k_thread thread_ka_data;

static struct rpmsg_endpoint ka_ept;
static atomic_t ka_peer = ATOMIC_INIT(-1);

static int ka_recv_cb(struct rpmsg_endpoint *ept, void *data, size_t len,
		      uint32_t src, void *priv)
{
	ARG_UNUSED(ept);
	ARG_UNUSED(data);
	ARG_UNUSED(len);
	ARG_UNUSED(priv);

	if ((uint32_t)atomic_set(&ka_peer, (atomic_val_t)src) != src) {
		printk("keepalive: peer 0x%x\n", src);
	}
	return RPMSG_SUCCESS;
}

static void ka_task(void *arg1, void *arg2, void *arg3)
{
	ARG_UNUSED(arg1);
	ARG_UNUSED(arg2);
	ARG_UNUSED(arg3);

	struct rpmsg_device *rdev = rpmsg_platform_wait();
	struct ka_msg msg = {
		.magic = KA_MAGIC,
		.proto = KA_PROTO,
		.len = sizeof(struct ka_msg),
	};
	uint32_t seq = 0;
	int64_t next;
#if CONFIG_MAIN_APP_KA_TEST_PAUSE_AT_S > 0
	int test_paused = 0;
#endif
	int ret;

	if (!rdev) {
		LOG_ERR("keepalive: no rpmsg device");
		return;
	}

	ret = rpmsg_create_ept(&ka_ept, rdev, "mcore-keepalive",
			       RPMSG_ADDR_ANY, RPMSG_ADDR_ANY,
			       ka_recv_cb, NULL);
	if (ret) {
		LOG_ERR("keepalive: could not create endpoint: %d", ret);
		return;
	}
	printk("keepalive: mcore-keepalive endpoint created, waiting for Linux peer\n");

	/* 周期は起動からの絶対時刻で刻み、送る処理の時間でずれないようにする */
	next = k_uptime_get();
	while (1) {
		next += KA_PERIOD_MS;
		k_sleep(K_TIMEOUT_ABS_MS(next));

		uint32_t peer = (uint32_t)atomic_get(&ka_peer);

		if (peer == (uint32_t)-1) {
			continue;	/* Linux 側がまだ — 送り先が無い */
		}
#if CONFIG_MAIN_APP_KA_TEST_PAUSE_AT_S > 0
		/* 試験用: 送り始めた seq を秒の目安にして、決まった区間だけ送らない */
		if (seq >= CONFIG_MAIN_APP_KA_TEST_PAUSE_AT_S &&
		    test_paused < CONFIG_MAIN_APP_KA_TEST_PAUSE_LEN_S) {
			if (test_paused++ == 0) {
				printk("keepalive: TEST pause for %d s\n",
				       CONFIG_MAIN_APP_KA_TEST_PAUSE_LEN_S);
			}
			continue;
		}
#endif
		msg.uptime_ms = (uint32_t)k_uptime_get();
		msg.seq = seq;
		if (rpmsg_trysendto(&ka_ept, &msg, sizeof(msg), peer) >= 0) {
			seq++;
		}
	}
}

void keepalive_start(void)
{
	k_thread_create(&thread_ka_data, thread_ka_stack,
			K_THREAD_STACK_SIZEOF(thread_ka_stack),
			ka_task, NULL, NULL, NULL,
			K_PRIO_COOP(7), 0, K_NO_WAIT);
}
```

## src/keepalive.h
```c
/*
 * keepalive — M コアが動いていることを Linux に知らせる (kmm-yocto issue #19)。
 * 仕様は keepalive.c の冒頭。
 */
#ifndef KEEPALIVE_H_
#define KEEPALIVE_H_

/* キープアライブのスレッドを起こす (rpmsg が使えるようになってから送り始める) */
void keepalive_start(void);

#endif /* KEEPALIVE_H_ */
```

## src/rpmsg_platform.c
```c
/*
 * rpmsg_platform — Linux (imx_rproc) との rpmsg を立ち上げる、main-app の土台。
 * can-gw の rpmsg 部 (apps/rpmsg-echo = openamp_rsc_table サンプルと同じ構成) を移したもの。
 * imx_rproc との噛み合わせ (ライブリソーステーブル / attach / MU チャネル 1 固定 /
 * MU 割込みを使わない 1ms ポーリング) は、各所のコメントのとおり。
 */
#include <zephyr/kernel.h>
#include <zephyr/device.h>
#include <zephyr/drivers/ipm.h>
#include <string.h>

#include <openamp/open_amp.h>
#include <metal/sys.h>
#include <metal/io.h>
#include <resource_table.h>
#include <addr_translation.h>

#include <zephyr/logging/log.h>
LOG_MODULE_REGISTER(rpmsg_platform);

#include "rpmsg_platform.h"

#if !DT_HAS_CHOSEN(zephyr_ipc_shm)
#error "main-app requires definition of shared memory for rpmsg"
#endif

#if CONFIG_IPM_MAX_DATA_SIZE > 0
#define IPM_SEND(dev, w, id, d, s) ipm_send(dev, w, id, d, s)
#else
#define IPM_SEND(dev, w, id, d, s) ipm_send(dev, w, id, NULL, 0)
#endif

#define SHM_NODE	DT_CHOSEN(zephyr_ipc_shm)
#define SHM_START_ADDR	DT_REG_ADDR(SHM_NODE)
#define SHM_SIZE	DT_REG_SIZE(SHM_NODE)

/* imx_rproc のライブテーブル先 (Linux DT の rsc-table 予約領域)。
 * 8MM: 0xB80FF000 / 8MP: 0x550FF000 (kmm-yocto docs/imx8mp-debix-bringup/01-m7.md) */
#if defined(CONFIG_SOC_MIMX8ML8)
#define RSC_TABLE_ADDR	0x550FF000UL
#else
#define RSC_TABLE_ADDR	0xB80FF000UL
#endif

K_THREAD_STACK_DEFINE(thread_mng_stack, 1024);
static struct k_thread thread_mng_data;

static const struct device *const ipm_handle =
	DEVICE_DT_GET(DT_CHOSEN(zephyr_ipc));

static metal_phys_addr_t shm_physmap = SHM_START_ADDR;
static metal_phys_addr_t rsc_tab_physmap;
static struct metal_io_region shm_io_data;
static struct metal_io_region rsc_io_data;
static struct metal_io_region *shm_io = &shm_io_data;
static struct metal_io_region *rsc_io = &rsc_io_data;
static struct rpmsg_virtio_device rvdev;
static void *rsc_table;
static struct rpmsg_device *rpdev;

static K_SEM_DEFINE(data_sem, 0, 1);
/* 準備ができたら (失敗でも) 1 回 give する。待つ側は take してすぐ give し直す */
static K_SEM_DEFINE(ready_sem, 0, 1);

static void platform_ipm_callback(const struct device *dev, void *context,
				  uint32_t id, volatile void *data)
{
	k_sem_give(&data_sem);
}

static void new_service_cb(struct rpmsg_device *rdev, const char *name,
			   uint32_t src)
{
	LOG_ERR("%s: unexpected ns service receive for name %s",
		__func__, name);
}

int mailbox_notify(void *priv, uint32_t id)
{
	ARG_UNUSED(priv);

	/* Linux 側 (imx_rproc) の mboxes は MU レジスタ index 1 固定
	 * (<&mu 1 1>)。OpenAMP が渡してくる id (= カーネルが採番した
	 * notifyid 0/1) をチャネル番号に使うと TR[0] 行きになり Linux に
	 * 届かない (実測 — MU 割込ゼロ)。チャネルは 1 に固定し、id は
	 * データとして載せる (imx_rproc は値を見ず全 vq を叩くので可) */
	IPM_SEND(ipm_handle, 0, 1, &id, 4);

	return 0;
}

static int platform_init(void)
{
	int rsc_size;
	struct metal_init_params metal_params = METAL_INIT_DEFAULTS;
	int status;

	status = metal_init(&metal_params);
	if (status) {
		LOG_ERR("metal_init: failed: %d", status);
		return -1;
	}

	metal_io_init(shm_io, (void *)SHM_START_ADDR, &shm_physmap,
		      SHM_SIZE, -1, 0, addr_translation_get_ops(shm_physmap));

	void *linked_rsc = NULL;

	rsc_table_get(&linked_rsc, &rsc_size);

	/* imx_rproc は「ライブテーブル」を Linux DT の rsc-table 予約領域
	 * (RSC_TABLE_ADDR) に置く。イメージ内のテーブルを読むと da=-1/status=0 の
	 * ままで永遠に待つ (実測)。リンク済みテーブルは ELF 解析用に残しつつ、
	 * 実行時は共有側を参照する。
	 *
	 * 起動経路が 2 通り:
	 *  - remoteproc LOAD (Linux が M コアを起動): Linux が ELF を解析して
	 *    テーブルを書いてから reset を解除する。走り出す時点で ver==1 の
	 *    有効テーブルが既にある。
	 *  - SPL/BL31 で先に起動 (attach): Linux は ELF を解析せず、テーブルを
	 *    「読む」側に回る。誰も書かないので M コア自身が publish する。
	 * 判定: 先頭 u32 = テーブル version。有効 (==1) なら Linux が既に書いた
	 * (LOAD) ので上書きしない (Linux が書き戻す vring da を潰さないため)。 */
	rsc_table = (void *)RSC_TABLE_ADDR;
	if (*(volatile uint32_t *)rsc_table != 1u) {
		memcpy(rsc_table, linked_rsc, rsc_size);
		LOG_INF("rsc_table published to %lx (attach mode)",
			(unsigned long)RSC_TABLE_ADDR);
	}
	rsc_tab_physmap = (uintptr_t)rsc_table;

	metal_io_init(rsc_io, rsc_table,
		      &rsc_tab_physmap, rsc_size, -1, 0, NULL);

	if (!device_is_ready(ipm_handle)) {
		LOG_ERR("IPM device is not ready");
		return -1;
	}

	/* [MU 衝突回避] MU 受信割込みは有効化しない。実測 (kmm-yocto pitfalls
	 * #26): 「MU doorbell 受信 × ペリフェラル read」の同時進行で SoC が
	 * ハードリセットする。受信は管理スレッドの 1ms ポーリングに置き換える。 */
	ipm_register_callback(ipm_handle, platform_ipm_callback, NULL);

	return 0;
}

static struct rpmsg_device *
platform_create_rpmsg_vdev(void (*rst_cb)(struct virtio_device *vdev),
			   rpmsg_ns_bind_cb ns_cb)
{
	struct fw_rsc_vdev_vring *vring_rsc;
	struct virtio_device *vdev;
	int ret;

	vdev = rproc_virtio_create_vdev(VIRTIO_DEV_DEVICE, VDEV_ID,
					rsc_table_to_vdev(rsc_table),
					rsc_io, NULL, mailbox_notify, NULL);
	if (!vdev) {
		LOG_ERR("failed to create vdev");
		return NULL;
	}

	/* Linux 側の rpmsg 初期化完了 (status=DRIVER_OK) を待つ */
	rproc_virtio_wait_remote_ready(vdev);

	vring_rsc = rsc_table_get_vring0(rsc_table);
	ret = rproc_virtio_init_vring(vdev, 0, vring_rsc->notifyid,
				      (void *)vring_rsc->da, rsc_io,
				      vring_rsc->num, vring_rsc->align);
	if (ret) {
		LOG_ERR("failed to init vring 0");
		goto failed;
	}

	vring_rsc = rsc_table_get_vring1(rsc_table);
	ret = rproc_virtio_init_vring(vdev, 1, vring_rsc->notifyid,
				      (void *)vring_rsc->da, rsc_io,
				      vring_rsc->num, vring_rsc->align);
	if (ret) {
		LOG_ERR("failed to init vring 1");
		goto failed;
	}

	ret = rpmsg_init_vdev(&rvdev, vdev, ns_cb, shm_io, NULL);
	if (ret) {
		LOG_ERR("failed rpmsg_init_vdev");
		goto failed;
	}

	/* [MU 衝突回避・核心] used ring に VRING_USED_F_NO_NOTIFY を立て、
	 * Linux の kick = MU write を仕様レベルで止める (kmm-yocto pitfalls #26)。
	 * M コア側は 1ms ポーリング受信なので kick は不要 */
	rvdev.rvq->vq_ring.used->flags |= VRING_USED_F_NO_NOTIFY;
	rvdev.svq->vq_ring.used->flags |= VRING_USED_F_NO_NOTIFY;

	return rpmsg_virtio_get_rpmsg_device(&rvdev);

failed:
	rproc_virtio_remove_vdev(vdev);
	return NULL;
}

#if defined(CONFIG_SOC_MIMX8ML8)
/* Linux (imx_rproc) の kick = MU-A TRn 書き込みは、M7 側が MU-B RRn を読むまで
 * 完了しない (Linux は tx_tout=100ms で待ち、err -62 で諦める)。attach 直後の
 * 1 発がこれで 100ms 止まり、PID1 が遅れていた。MU 割込みは使わないまま、
 * 1ms ポーリングの中で受信フルフラグを見て読み捨てる = ACK だけ返す。
 * MU-B: 0x30ab0000 (nxp_imx8ml_m7.dtsi の mailbox0)。SR bit27-n = RFn */
#define MUB_SR		(*(volatile uint32_t *)0x30ab0020u)
#define MUB_RR(n)	(*(volatile uint32_t *)(0x30ab0010u + 4u * (n)))
static inline void mu_ack_rx(void)
{
	uint32_t sr = MUB_SR;

	for (unsigned int n = 0; n < 4; n++) {
		if (sr & (1u << (27 - n))) {
			(void)MUB_RR(n);
		}
	}
}
#else
static inline void mu_ack_rx(void) {}
#endif

static void rpmsg_mng_task(void *arg1, void *arg2, void *arg3)
{
	ARG_UNUSED(arg1);
	ARG_UNUSED(arg2);
	ARG_UNUSED(arg3);

	if (platform_init()) {
		LOG_ERR("Failed to initialize platform");
		k_sem_give(&ready_sem);
		return;
	}

	rpdev = platform_create_rpmsg_vdev(NULL, new_service_cb);
	if (!rpdev) {
		LOG_ERR("Failed to create rpmsg virtio device");
	}
	k_sem_give(&ready_sem);
	if (!rpdev) {
		return;
	}

	while (1) {
		/* MU 割込み無し運用: 1ms 周期で vring を見る (仕事が無ければ即戻る) */
		k_sem_take(&data_sem, K_MSEC(1));
		mu_ack_rx();
		rproc_virtio_notified(rvdev.vdev, VRING1_ID);
	}
}

void rpmsg_platform_start(void)
{
	k_thread_create(&thread_mng_data, thread_mng_stack,
			K_THREAD_STACK_SIZEOF(thread_mng_stack),
			rpmsg_mng_task, NULL, NULL, NULL,
			K_PRIO_COOP(8), 0, K_NO_WAIT);
}

struct rpmsg_device *rpmsg_platform_wait(void)
{
	k_sem_take(&ready_sem, K_FOREVER);
	k_sem_give(&ready_sem);
	return rpdev;
}
```

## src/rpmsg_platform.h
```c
/*
 * rpmsg_platform — Linux (imx_rproc) との rpmsg を立ち上げる、main-app の土台。
 * 機能 (キープアライブ、CAN の中継、ADC) は rpmsg_platform_wait() で rpmsg_device を
 * 受け取り、自分のエンドポイントを作る。
 */
#ifndef RPMSG_PLATFORM_H_
#define RPMSG_PLATFORM_H_

#include <openamp/open_amp.h>

/* 管理スレッドを起こす (共有メモリ・リソーステーブル・vring の準備と、1ms ごとの受信の確認) */
void rpmsg_platform_start(void);

/* rpmsg が使えるようになるまで待つ。失敗したら NULL。何スレッドから呼んでもよい */
struct rpmsg_device *rpmsg_platform_wait(void);

#endif /* RPMSG_PLATFORM_H_ */
```
